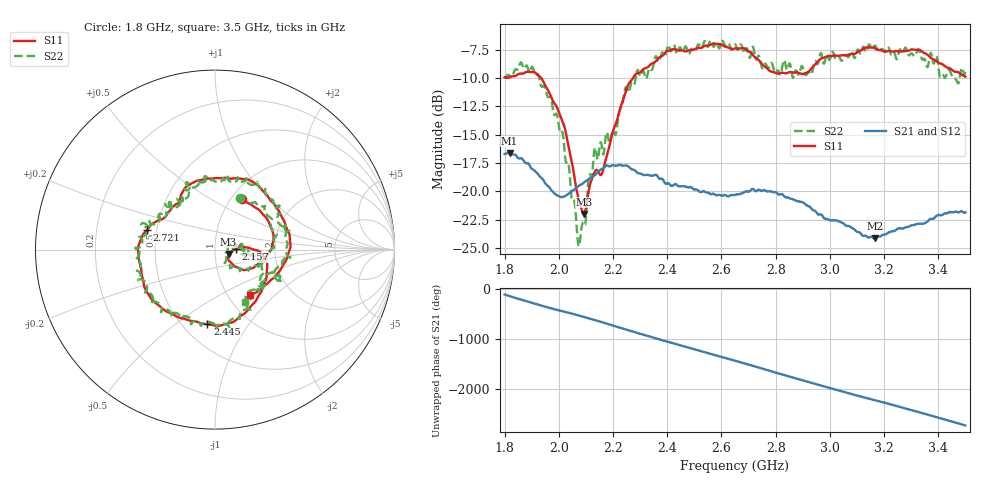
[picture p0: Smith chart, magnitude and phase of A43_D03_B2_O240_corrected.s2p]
! Created with skrf 1.9.0 (http://scikit-rf.org).
# Hz S RI R 50.0
!freq ReS11 ImS11 ReS21 ImS21 ReS12 ImS12 ReS22 ImS22
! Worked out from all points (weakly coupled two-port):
!   1601 points, 1.8 GHz to 3.5 GHz, reference 50 ohm
!   highest |S21| = -16.60 dB at 1.818 GHz (marker M1); lowest = -24.1 dB at 3.165 GHz (marker M2)
!   lowest |S11| = -22.0 dB at 2.093 GHz (marker M3), VSWR 1.17, Z = 58.1 - j2.8 ohm
!   |S11| at or under -10 dB: 1.935 GHz to 2.274 GHz (338.2 MHz wide, 16.1 % of centre)
!   |S22| runs from -24.8 to -6.7 dB; largest |S21 - S12| = 0.0025
!   S11 on the Smith chart (normalised r, x): 1.8 GHz: 1.13, +0.70; 2.157 GHz: 1.27, +0.01; 2.445 GHz: 0.66, -0.66; 2.721 GHz: 0.44, +0.12; 3.5 GHz: 1.26, -0.71
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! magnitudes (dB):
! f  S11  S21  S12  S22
! 1.8 GHz  -9.9  -16.7  -16.7  -9.9
! 1.818 GHz  -9.9  -16.6  -16.6  -9.8
! 1.903 GHz  -9.5  -18.0  -18.0  -9.0
! 1.968 GHz  -11.5  -19.7  -19.8  -11.7
! 2.015 GHz  -13.9  -20.5  -20.5  -14.9
! 2.072 GHz  -20.5  -19.5  -19.6  -24.7
! 2.084 GHz  -21.5  -19.4  -19.3  -23.2
! 2.093 GHz  -22.0  -19.2  -19.2  -22.8
! 2.13 GHz  -18.4  -18.6  -18.6  -16.5
! 2.157 GHz  -18.5  -18.0  -18.0  -15.8
! 2.209 GHz  -14.1  -17.7  -17.7  -15.0
! 2.257 GHz  -10.6  -17.8  -17.8  -11.3
! 2.367 GHz  -8.3  -18.8  -18.7  -8.5
! 2.445 GHz  -7.6  -19.5  -19.5  -7.3
! 2.65 GHz  -7.4  -20.3  -20.3  -7.0
! 2.721 GHz  -8.1  -19.9  -19.8  -7.7
! 2.805 GHz  -9.6  -20.1  -20.2  -9.4
! 2.934 GHz  -9.1  -21.6  -21.5  -9.6
! 3.165 GHz  -7.4  -24.1  -24.1  -7.1
! 3.217 GHz  -7.6  -23.6  -23.6  -7.3
! 3.331 GHz  -7.5  -22.9  -22.9  -7.6
! 3.5 GHz  -9.9  -21.8  -21.8  -9.5
